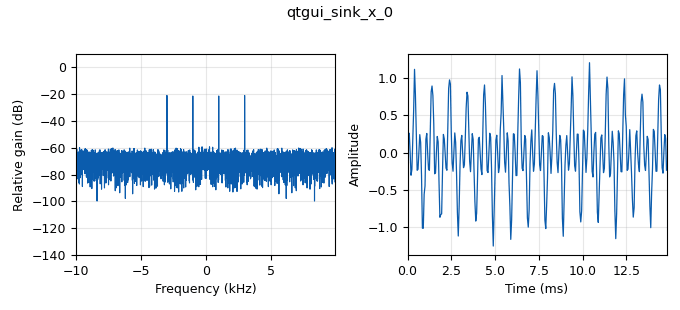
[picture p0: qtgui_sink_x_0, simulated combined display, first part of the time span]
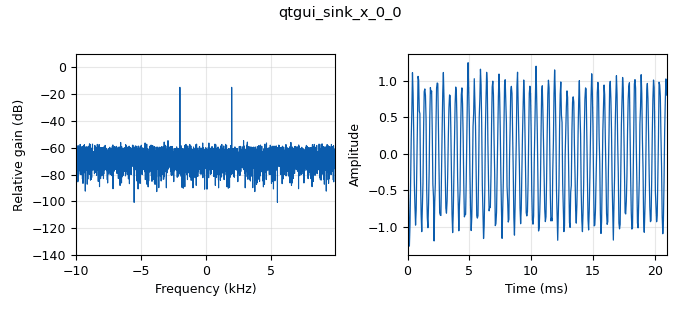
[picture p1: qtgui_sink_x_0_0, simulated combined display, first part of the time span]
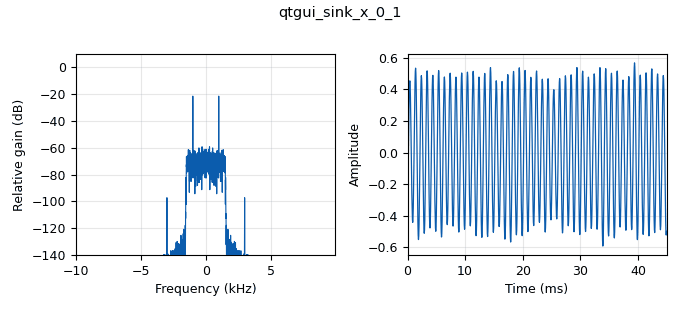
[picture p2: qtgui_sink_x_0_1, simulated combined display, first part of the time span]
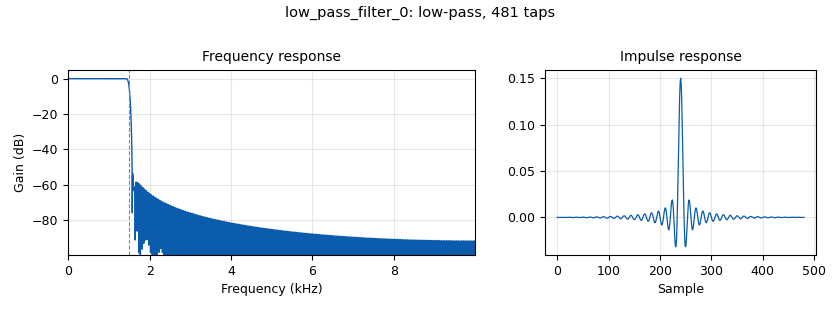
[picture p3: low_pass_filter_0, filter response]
options:
  parameters:
    generate_options: qt_gui
    id: rtl_receive
    output_language: python
    title: Not titled yet
  states: {}

blocks:
- name: Fc
  id: variable_qtgui_range
  parameters:
    label: Frequency (Hz)
    orient: Qt.Horizontal
    start: '0'
    step: '1'
    stop: 4*samp_rate
    value: '2000'
  states: {}
- name: Flo
  id: variable_qtgui_range
  parameters:
    label: Frequency (Hz)
    orient: Qt.Horizontal
    start: '0'
    step: '1'
    stop: 4*samp_rate
    value: '1000'
  states: {}
- name: noise_amp
  id: variable_qtgui_range
  parameters:
    orient: Qt.Horizontal
    start: '0'
    step: '0.001'
    stop: '1.0'
    value: '0.1'
  states: {}
- name: samp_rate
  id: variable
  parameters:
    value: 20e3
  states: {}
- name: analog_noise_source_x_0
  id: analog_noise_source_x
  parameters:
    amp: noise_amp
    noise_type: analog.GR_GAUSSIAN
    seed: '0'
    type: float
  states: {}
- name: analog_sig_source_x_0
  id: analog_sig_source_x
  parameters:
    amp: '1'
    freq: Fc
    offset: '0'
    phase: '0'
    samp_rate: samp_rate
    type: float
    waveform: analog.GR_COS_WAVE
  states: {}
- name: analog_sig_source_x_0_0
  id: analog_sig_source_x
  parameters:
    amp: '1'
    freq: Flo
    offset: '0'
    phase: '0'
    samp_rate: samp_rate
    type: float
    waveform: analog.GR_COS_WAVE
  states: {}
- name: blocks_add_xx_0
  id: blocks_add_xx
  parameters:
    type: float
  states: {}
- name: blocks_multiply_xx_0
  id: blocks_multiply_xx
  parameters:
    type: float
  states: {}
- name: low_pass_filter_0
  id: low_pass_filter
  parameters:
    cutoff_freq: '1500'
    decim: '1'
    gain: '1'
    samp_rate: samp_rate
    type: fir_filter_fff
    width: '100'
    win: firdes.WIN_HAMMING
  states: {}
- name: qtgui_sink_x_0
  id: qtgui_sink_x
  parameters:
    bw: samp_rate
    fc: '0'
    fftsize: 1024*8
    type: float
    wintype: firdes.WIN_BLACKMAN_hARRIS
  states: {}
- name: qtgui_sink_x_0_0
  id: qtgui_sink_x
  parameters:
    bw: samp_rate
    fc: '0'
    fftsize: 1024*8
    type: float
    wintype: firdes.WIN_BLACKMAN_hARRIS
  states: {}
- name: qtgui_sink_x_0_1
  id: qtgui_sink_x
  parameters:
    bw: samp_rate
    fc: '0'
    fftsize: 1024*8
    type: float
    wintype: firdes.WIN_BLACKMAN_hARRIS
  states: {}

connections:
- [analog_noise_source_x_0, '0', blocks_add_xx_0, '1']
- [analog_sig_source_x_0, '0', blocks_add_xx_0, '0']
- [analog_sig_source_x_0_0, '0', blocks_multiply_xx_0, '1']
- [blocks_add_xx_0, '0', blocks_multiply_xx_0, '0']
- [blocks_add_xx_0, '0', qtgui_sink_x_0_0, '0']
- [blocks_multiply_xx_0, '0', low_pass_filter_0, '0']
- [blocks_multiply_xx_0, '0', qtgui_sink_x_0, '0']
- [low_pass_filter_0, '0', qtgui_sink_x_0_1, '0']

metadata:
  file_format: 1
